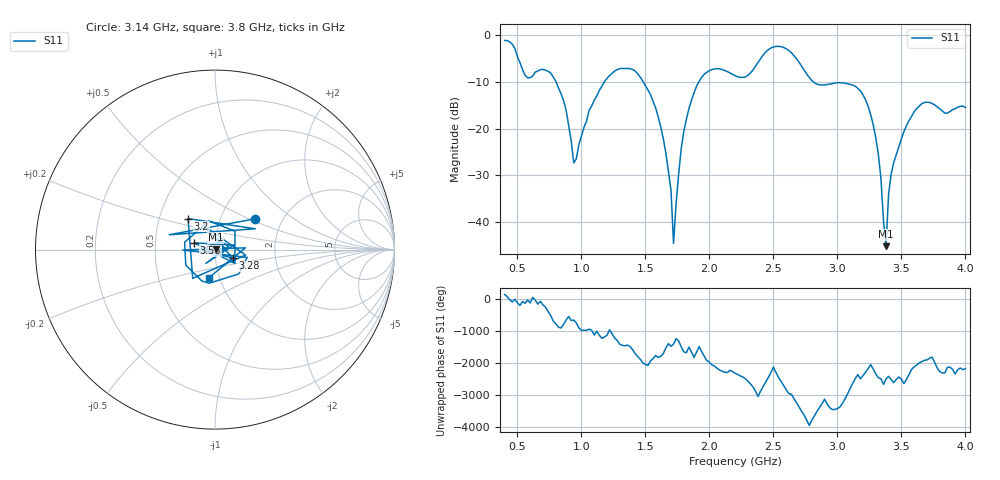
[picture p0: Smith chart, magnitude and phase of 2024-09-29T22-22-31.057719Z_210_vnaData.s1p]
!Created with skrf (http://scikit-rf.org).
# Hz S RI R 50.0
!freq ReS11 ImS11
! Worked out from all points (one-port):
!   181 points, 400 MHz to 4 GHz, reference 50 ohm
!   lowest |S11| = -45.1 dB at 3.38 GHz (marker M1), VSWR 1.01, Z = 50.5 + j0.253 ohm
!   |S11| at or under -10 dB: 801.5 MHz to 1.179 GHz (377.5 MHz wide, 38.1 % of centre); 1.482 GHz to 1.919 GHz (436.1 MHz wide, 25.6 % of centre); 2.811 GHz to end of sweep
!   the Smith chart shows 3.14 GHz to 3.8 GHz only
!   S11 on the Smith chart (normalised r, x): 3.14 GHz: 1.46, +0.54; 3.2 GHz: 0.70, +0.26; 3.28 GHz: 1.21, -0.12; 3.56 GHz: 0.79, +0.06; 3.8 GHz: 0.89, -0.29
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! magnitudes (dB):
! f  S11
! 400 MHz  -1.2
! 760 MHz  -8.1
! 860 MHz  -14.0
! 940 MHz  -27.3
! 1.06 GHz  -16.1
! 1.3 GHz  -7.2
! 1.44 GHz  -8.3
! 1.58 GHz  -15.6
! 1.7 GHz  -33.2
! 1.72 GHz  -44.5
! 1.76 GHz  -29.6
! 1.82 GHz  -18.0
! 1.92 GHz  -9.9
! 2.2 GHz  -8.7
! 2.5 GHz  -2.6
! 2.66 GHz  -4.4
! 2.84 GHz  -10.5
! 3.1 GHz  -10.6
! 3.14 GHz  -11.0
! 3.2 GHz  -12.8
! 3.28 GHz  -19.2
! 3.34 GHz  -30.6
! 3.38 GHz  -45.1
! 3.4 GHz  -34.0
! 3.42 GHz  -29.7
! 3.56 GHz  -18.3
! 3.8 GHz  -15.8
! 4 GHz  -15.5
